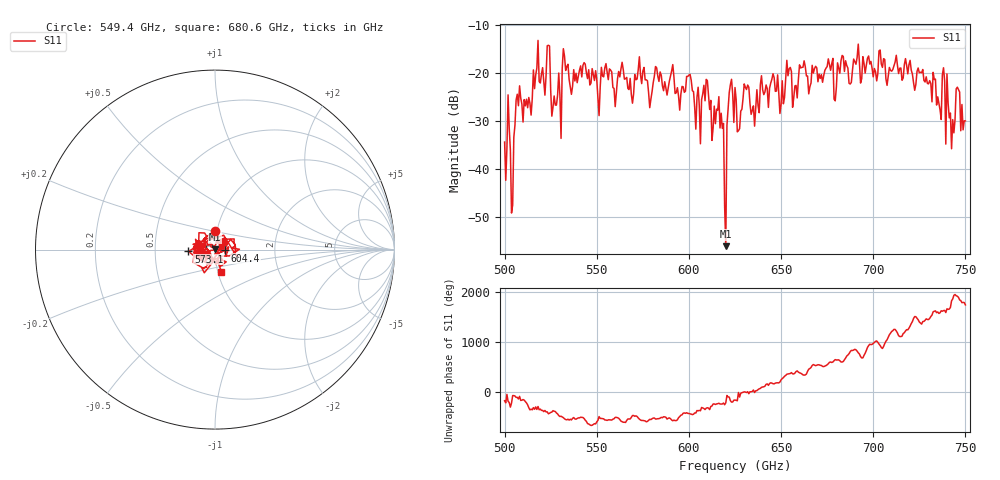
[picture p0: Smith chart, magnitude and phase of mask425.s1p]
!Created with skrf (http://scikit-rf.org).
# GHz S MA R 50.0
!freq magS11 angS11
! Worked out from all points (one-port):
!   401 points, 500 GHz to 750 GHz, reference 50 ohm
!   lowest |S11| = -56.0 dB at 620 GHz (marker M1), VSWR 1.00, Z = 49.9 + j0.0801 ohm
!   |S11| at or under -10 dB: start of sweep to end of sweep
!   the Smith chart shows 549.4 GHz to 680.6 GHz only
!   S11 on the Smith chart (normalised r, x): 549.4 GHz: 0.98, +0.21; 573.1 GHz: 0.74, -0.02; 604.4 GHz: 1.12, -0.01; 680.6 GHz: 1.04, -0.26
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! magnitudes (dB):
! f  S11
! 500 GHz  -34.3
! 504.4 GHz  -47.4
! 507.5 GHz  -26.8
! 513.8 GHz  -26.3
! 516.9 GHz  -20.4
! 523.8 GHz  -14.2
! 526.9 GHz  -24.7
! 531.2 GHz  -19.1
! 533.1 GHz  -19.4
! 549.4 GHz  -19.5
! 562.5 GHz  -20.8
! 568.8 GHz  -24.4
! 573.1 GHz  -16.6
! 593.8 GHz  -23.0
! 600 GHz  -20.4
! 604.4 GHz  -25.0
! 609.4 GHz  -21.3
! 616.2 GHz  -24.9
! 620 GHz  -56.0
! 621.9 GHz  -24.0
! 625 GHz  -23.0
! 656.2 GHz  -27.1
! 680.6 GHz  -17.9
! 687.5 GHz  -22.2
! 718.8 GHz  -20.1
! 742.5 GHz  -35.7
! 745.6 GHz  -22.9
! 750 GHz  -29.9
